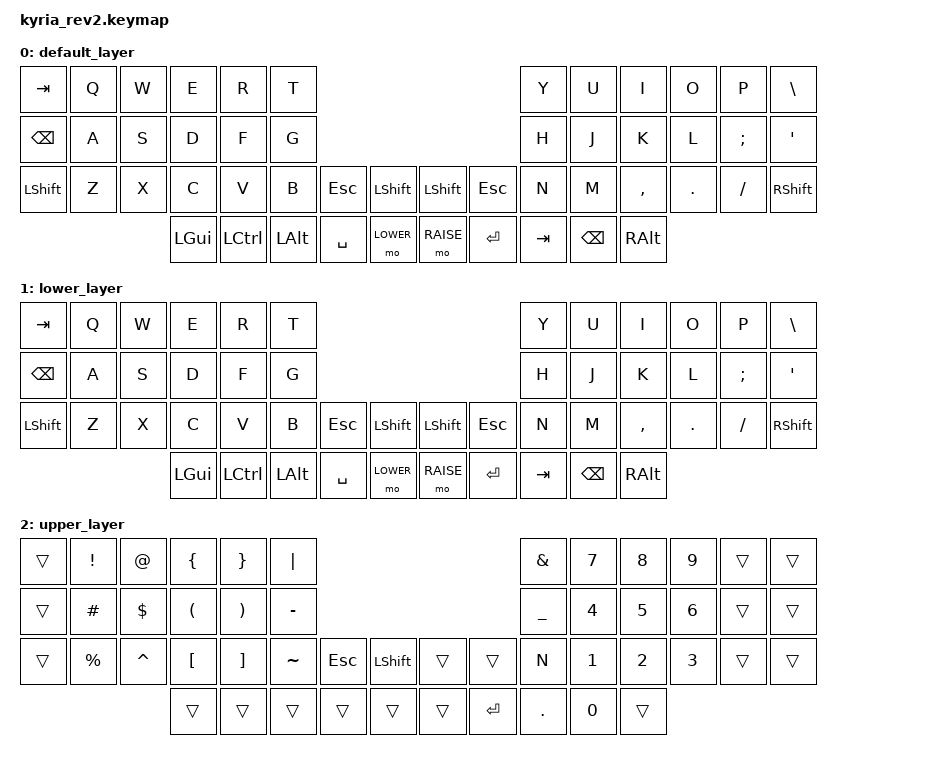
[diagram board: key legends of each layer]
/*
 * Copyright (c) 2020 The ZMK Contributors
 *
 * SPDX-License-Identifier: MIT
 */
#define DEFAULT 0
#define LOWER   1
#define RAISE   2

/ {
    keymap {
        compatible = "zmk,keymap";

		default_layer {
			bindings = <
                &kp TAB	      &kp Q &kp W &kp E    &kp R     &kp T                                           &kp Y   &kp U    &kp I     &kp O   &kp P    &kp BSLH
                &kp BACKSPACE &kp A &kp S &kp D    &kp F     &kp G                                           &kp H   &kp J    &kp K     &kp L   &kp SEMI &kp SQT
                &kp LSHFT     &kp Z &kp X &kp C    &kp V     &kp B  &kp ESC   &kp LSHFT  &kp LSHFT  &kp ESC  &kp N   &kp M    &kp COMMA &kp DOT &kp FSLH &kp RSHFT
                                        &kp LGUI &kp LCTRL &kp LALT &kp SPACE &mo LOWER  &mo RAISE  &kp RET  &kp TAB &kp BSPC &kp RALT
			>;
		};
		
        lower_layer {
            bindings = <
                &kp TAB	      &kp Q &kp W &kp E    &kp R     &kp T                                             &kp Y   &kp U    &kp I     &kp O   &kp P    &kp BSLH
                &kp BACKSPACE &kp A &kp S &kp D    &kp F     &kp G                                             &kp H   &kp J    &kp K     &kp L   &kp SEMI &kp SQT
                &kp LSHFT     &kp Z &kp X &kp C    &kp V     &kp B    &kp ESC   &kp LSHFT  &kp LSHFT  &kp ESC  &kp N   &kp M    &kp COMMA &kp DOT &kp FSLH &kp RSHFT
                                        &kp LGUI &kp LCTRL &kp LALT &kp SPACE &mo LOWER  &mo RAISE  &kp RET  &kp TAB &kp BSPC &kp RALT
			>;
		};
        upper_layer {
			bindings = <
                &trans &kp EXCLAMATION &kp AT     &kp LEFT_BRACE   &kp RIGHT_BRACE   &kp PIPE                                    &kp AMPS       &kp N7  &kp N8 &kp N9 &trans &trans
                &trans &kp HASH        &kp DOLLAR &kp LPAR         &kp RPAR          &kp MINUS                                   &kp UNDERSCORE &kp N4  &kp N5 &kp N6 &trans &trans
                &trans &kp PERCENT     &kp CARET  &kp LEFT_BRACKET &kp RIGHT_BRACKET &kp TILDE &kp ESC &kp LSHFT  &trans &trans  &kp N          &kp N1  &kp N2 &kp N3 &trans &trans
                                                  &trans           &trans            &trans    &trans  &trans     &trans &kp RET &kp DOT        &kp N0  &trans
			>;
		};
	};
};
